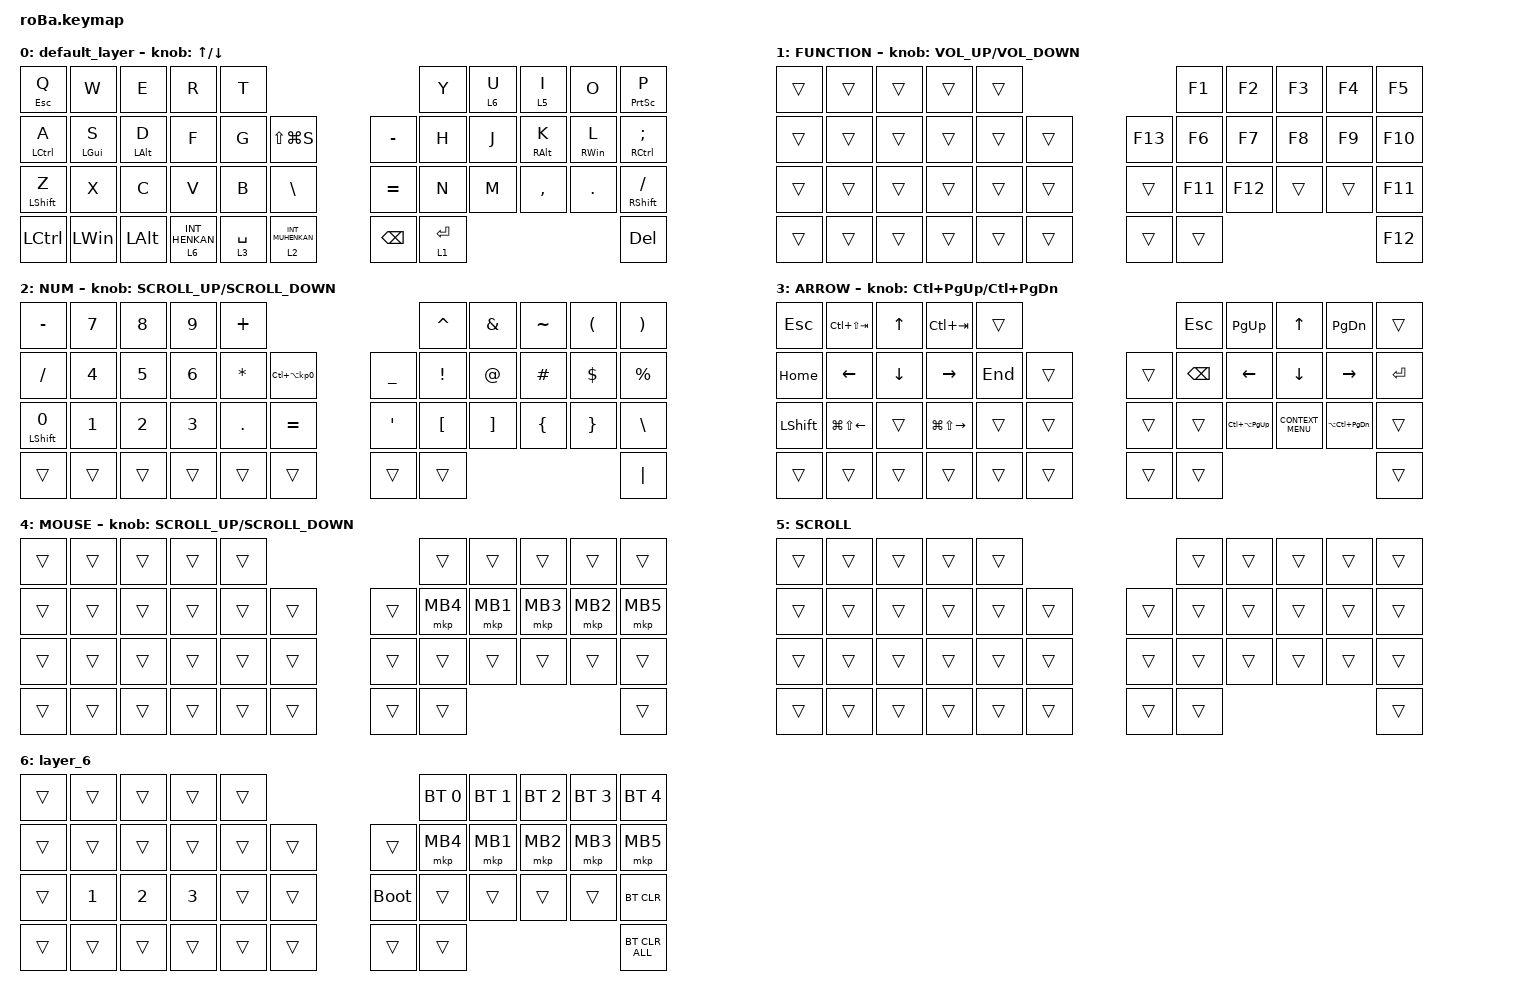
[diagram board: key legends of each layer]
#include <behaviors.dtsi>
#include <dt-bindings/zmk/bt.h>
#include <dt-bindings/zmk/keys.h>
#include <dt-bindings/zmk/pointing.h>

#define MOUSE 4
#define SCROLL 5
#define NUM 6

&mt {
    flavor = "balanced";
    quick-tap-ms = <0>;
};

/ {
    combos {
        compatible = "zmk,combos";

        tab {
            bindings = <&kp TAB>;
            key-positions = <11 12>;
        };

        shift_tab {
            bindings = <&kp LS(TAB)>;
            key-positions = <12 13>;
        };

        muhennkann {
            bindings = <&to_layer_0 INT_MUHENKAN>;
            key-positions = <11 10>;
        };

        double_quotation {
            bindings = <&kp DOUBLE_QUOTES>;
            key-positions = <20 21>;
        };

        eq {
            bindings = <&kp EQUAL>;
            key-positions = <24 25>;
        };

        apostrophy {
            bindings = <&kp APOS>;
            key-positions = <20 19>;
        };

        minus {
            bindings = <&kp MINUS>;
            key-positions = <19 18>;
        };

        back_slash {
            bindings = <&kp BACKSLASH>;
            key-positions = <32 33>;
        };

        delete {
            bindings = <&kp DELETE>;
            key-positions = <23 24>;
        };
    };

    macros {
        to_layer_0: to_layer_0 {
            compatible = "zmk,behavior-macro-one-param";
            #binding-cells = <1>;
            bindings = <&to 0 &macro_param_1to1 &kp MACRO_PLACEHOLDER>;
            label = "TO_LAYER_0";
        };
    };

    behaviors {
        lt_to_layer_0: lt_to_layer_0 {
            compatible = "zmk,behavior-hold-tap";
            label = "LAYER_TAP_TO_0";
            bindings = <&mo>, <&to_layer_0>;

            #binding-cells = <2>;
            tapping-term-ms = <800>;
        };
    };

    keymap {
        compatible = "zmk,keymap";

        default_layer {
            bindings = <
&mt ESC Q         &kp W           &kp E         &kp R                        &kp T                                                          &kp Y        &lt 6 U  &lt 5 I          &kp O            &mt PRINTSCREEN P
&mt LCTRL A       &mt LEFT_GUI S  &mt LALT D    &kp F                        &kp G        &kp LS(LG(S))                      &kp MINUS      &kp H        &kp J    &mt RIGHT_ALT K  &mt RIGHT_WIN L  &mt RCTRL SEMICOLON
&mt LEFT_SHIFT Z  &kp X           &kp C         &kp V                        &kp B        &kp BACKSLASH                      &kp EQUAL      &kp N        &kp M    &kp COMMA        &kp DOT          &mt RSHIFT SLASH
&kp LCTRL         &kp LEFT_WIN    &kp LEFT_ALT  &lt_to_layer_0 6 INT_HENKAN  &lt 3 SPACE  &lt_to_layer_0 2 INT_MUHENKAN      &kp BACKSPACE  &lt 1 ENTER                                             &kp DEL
            >;

            sensor-bindings = <&inc_dec_kp UP_ARROW DOWN_ARROW>;
        };

        FUNCTION {
            bindings = <
&trans  &trans  &trans  &trans  &trans                       &kp F1   &kp F2   &kp F3  &kp F4  &kp F5
&trans  &trans  &trans  &trans  &trans  &trans      &kp F13  &kp F6   &kp F7   &kp F8  &kp F9  &kp F10
&trans  &trans  &trans  &trans  &trans  &trans      &trans   &kp F11  &kp F12  &trans  &trans  &kp F11
&trans  &trans  &trans  &trans  &trans  &trans      &trans   &trans                            &kp F12
            >;

            sensor-bindings = <&inc_dec_kp C_VOLUME_UP C_VOLUME_DOWN>;
        };

        NUM {
            bindings = <
&kp MINUS          &kp N7  &kp N8  &kp N9  &kp PLUS                                                   &kp CARET         &kp AMPERSAND      &kp TILDE       &kp LEFT_PARENTHESIS  &kp RIGHT_PARENTHESIS
&kp SLASH          &kp N4  &kp N5  &kp N6  &kp ASTERISK  &kp LC(LA(KP_NUMBER_0))      &kp UNDERSCORE  &kp EXCLAMATION   &kp AT_SIGN        &kp HASH        &kp DOLLAR            &kp PERCENT
&mt LEFT_SHIFT N0  &kp N1  &kp N2  &kp N3  &kp PERIOD    &kp EQUAL                    &kp APOS        &kp LEFT_BRACKET  &kp RIGHT_BRACKET  &kp LEFT_BRACE  &kp RIGHT_BRACE       &kp BACKSLASH
&trans             &trans  &trans  &trans  &trans        &trans                       &trans          &trans                                                                     &kp PIPE
            >;

            sensor-bindings = <&inc_dec_kp K_SCROLL_UP K_SCROLL_DOWN>;
        };

        ARROW {
            bindings = <
&kp ESCAPE      &kp LC(LS(TAB))         &kp UP_ARROW    &kp LC(TAB)              &trans                       &kp ESC        &kp PAGE_UP          &kp UP_ARROW        &kp PAGE_DOWN          &trans
&kp HOME        &kp LEFT_ARROW          &kp DOWN_ARROW  &kp RIGHT_ARROW          &kp END  &trans      &trans  &kp BACKSPACE  &kp LEFT_ARROW       &kp DOWN_ARROW      &kp RIGHT_ARROW        &kp ENTER
&kp LEFT_SHIFT  &kp LG(LS(LEFT_ARROW))  &trans          &kp LG(LS(RIGHT_ARROW))  &trans   &trans      &trans  &trans         &kp LC(LA(PAGE_UP))  &kp K_CONTEXT_MENU  &kp LA(LC(PAGE_DOWN))  &trans
&trans          &trans                  &trans          &trans                   &trans   &trans      &trans  &trans                                                                         &trans
            >;

            sensor-bindings = <&inc_dec_kp LC(PAGE_UP) LC(PAGE_DOWN)>;
        };

        MOUSE {
            bindings = <
&trans  &trans  &trans  &trans  &trans                      &trans    &trans    &trans    &trans    &trans
&trans  &trans  &trans  &trans  &trans  &trans      &trans  &mkp MB4  &mkp MB1  &mkp MB3  &mkp MB2  &mkp MB5
&trans  &trans  &trans  &trans  &trans  &trans      &trans  &trans    &trans    &trans    &trans    &trans
&trans  &trans  &trans  &trans  &trans  &trans      &trans  &trans                                  &trans
            >;

            sensor-bindings = <&inc_dec_kp K_SCROLL_UP K_SCROLL_DOWN>;
        };

        SCROLL {
            bindings = <
&trans  &trans  &trans  &trans  &trans                      &trans  &trans  &trans  &trans  &trans
&trans  &trans  &trans  &trans  &trans  &trans      &trans  &trans  &trans  &trans  &trans  &trans
&trans  &trans  &trans  &trans  &trans  &trans      &trans  &trans  &trans  &trans  &trans  &trans
&trans  &trans  &trans  &trans  &trans  &trans      &trans  &trans                          &trans
            >;
        };

        layer_6 {
            bindings = <
&trans  &trans        &trans        &trans        &trans                           &bt BT_SEL 0  &bt BT_SEL 1  &bt BT_SEL 2  &bt BT_SEL 3  &bt BT_SEL 4
&trans  &trans        &trans        &trans        &trans  &trans      &trans       &mkp MB4      &mkp MB1      &mkp MB2      &mkp MB3      &mkp MB5
&trans  &kp NUMBER_1  &kp NUMBER_2  &kp NUMBER_3  &trans  &trans      &bootloader  &trans        &trans        &trans        &trans        &bt BT_CLR
&trans  &trans        &trans        &trans        &trans  &trans      &trans       &trans                                                  &bt BT_CLR_ALL
            >;
        };
    };
};
